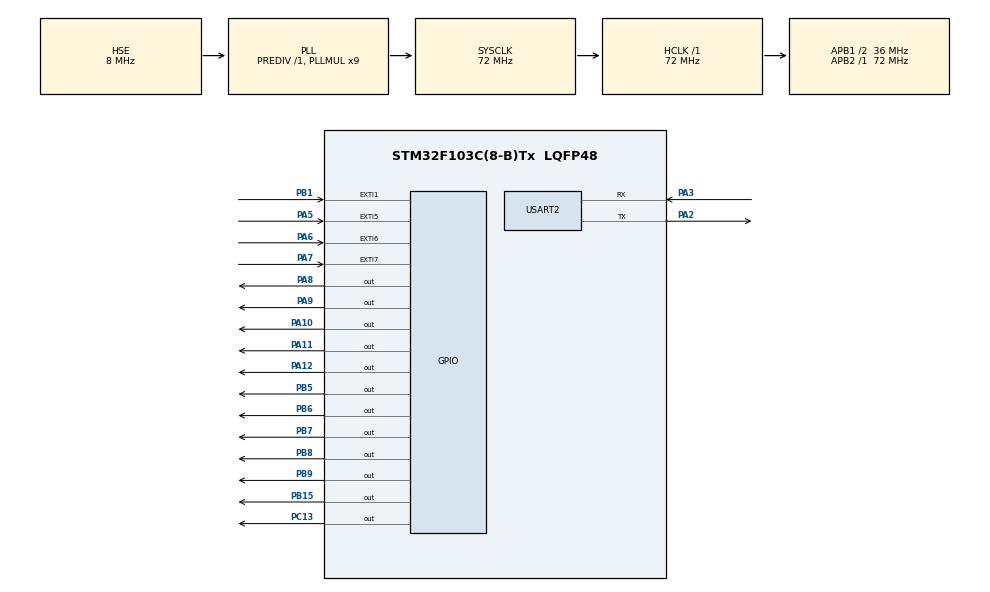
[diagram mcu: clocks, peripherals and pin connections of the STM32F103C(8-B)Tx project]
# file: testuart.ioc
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Mcu.Family=STM32F1
Mcu.Name=STM32F103C(8-B)Tx
Mcu.Package=LQFP48
NVIC.EXTI1_IRQn=true\:0\:0\:false\:false\:true\:true\:true\:true
NVIC.EXTI9_5_IRQn=true\:0\:0\:false\:false\:true\:true\:true\:true
NVIC.PriorityGroup=NVIC_PRIORITYGROUP_4
NVIC.TIM1_UP_IRQn=true\:0\:0\:false\:false\:true\:true\:true\:true
NVIC.TIM2_IRQn=true\:0\:0\:false\:false\:true\:true\:true\:true
NVIC.TIM3_IRQn=true\:0\:0\:false\:false\:true\:true\:true\:true
NVIC.TIM4_IRQn=true\:0\:0\:false\:false\:true\:true\:true\:true
NVIC.USART2_IRQn=true\:0\:0\:false\:false\:true\:true\:true\:true
PA10.Signal=GPIO_Output
PA11.Signal=GPIO_Output
PA12.Signal=GPIO_Output
PA2.Mode=Asynchronous
PA2.Signal=USART2_TX
PA3.Mode=Asynchronous
PA3.Signal=USART2_RX
PA5.GPIO_ModeDefaultEXTI=GPIO_MODE_IT_FALLING
PA5.GPIO_PuPd=GPIO_PULLUP
PA5.Signal=GPXTI5
PA6.GPIO_ModeDefaultEXTI=GPIO_MODE_IT_FALLING
PA6.GPIO_PuPd=GPIO_PULLUP
PA6.Signal=GPXTI6
PA7.GPIO_ModeDefaultEXTI=GPIO_MODE_IT_FALLING
PA7.GPIO_PuPd=GPIO_PULLUP
PA7.Signal=GPXTI7
PA8.Signal=GPIO_Output
PA9.Signal=GPIO_Output
PB1.GPIO_ModeDefaultEXTI=GPIO_MODE_IT_FALLING
PB1.GPIO_PuPd=GPIO_PULLUP
PB1.Signal=GPXTI1
PB15.Signal=GPIO_Output
PB5.Signal=GPIO_Output
PB6.Signal=GPIO_Output
PB7.Signal=GPIO_Output
PB8.Signal=GPIO_Output
PB9.Signal=GPIO_Output
PC13-TAMPER-RTC.Signal=GPIO_Output
PD0-OSC_IN.Mode=HSE-External-Oscillator
PD0-OSC_IN.Signal=RCC_OSC_IN
PD1-OSC_OUT.Mode=HSE-External-Oscillator
PD1-OSC_OUT.Signal=RCC_OSC_OUT
ProjectManager.HeapSize=0x200
ProjectManager.StackSize=0x400
ProjectManager.TargetToolchain=STM32CubeIDE
RCC.AHBFreq_Value=72000000
RCC.APB1CLKDivider=RCC_HCLK_DIV2
RCC.APB1Freq_Value=36000000
RCC.APB1TimFreq_Value=72000000
RCC.APB2Freq_Value=72000000
RCC.APB2TimFreq_Value=72000000
RCC.HCLKFreq_Value=72000000
RCC.PLLMUL=RCC_PLL_MUL9
RCC.PLLSourceVirtual=RCC_PLLSOURCE_HSE
RCC.SYSCLKFreq_VALUE=72000000
RCC.SYSCLKSource=RCC_SYSCLKSOURCE_PLLCLK
RCC.USBFreq_Value=72000000
TIM1.AutoReloadPreload=TIM_AUTORELOAD_PRELOAD_ENABLE
TIM1.Period=20000-1
TIM1.Prescaler=7200-1
TIM2.AutoReloadPreload=TIM_AUTORELOAD_PRELOAD_ENABLE
TIM2.Period=71
TIM2.Prescaler=720
TIM3.AutoReloadPreload=TIM_AUTORELOAD_PRELOAD_ENABLE
TIM3.Period=71
TIM3.Prescaler=720
TIM4.AutoReloadPreload=TIM_AUTORELOAD_PRELOAD_ENABLE
TIM4.Prescaler=720
USART2.VirtualMode=VM_ASYNC
VP_TIM1_VS_ClockSourceINT.Mode=Internal
VP_TIM2_VS_ClockSourceINT.Mode=Internal
VP_TIM3_VS_ClockSourceINT.Mode=Internal
VP_TIM4_VS_ClockSourceINT.Mode=Internal
board=custom

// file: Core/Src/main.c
/* USER CODE BEGIN Header */
/**
  ******************************************************************************
  * @file           : main.c
  * @brief          : Main program body
  ******************************************************************************
  * @attention
  *
  * Copyright (c) 2023 STMicroelectronics.
  * All rights reserved.
  *
  * This software is licensed under terms that can be found in the LICENSE file
  * in the root directory of this software component.
  * If no LICENSE file comes with this software, it is provided AS-IS.
  *
  ******************************************************************************
  */
/* USER CODE END Header */
#include "main.h"

/* USER CODE BEGIN PTD */
#include <begin.h>
#include <body.h>
#include <calculate_ARR.h>
#include <convert_position.h>
#include <define.h>
#include <director.h>
#include <exti_interrupt.h>
#include <timer_interrupt.h>
#include <uart_interrupt.h>
#include <var.h>
/* USER CODE END PTD */

TIM_HandleTypeDef htim1;
TIM_HandleTypeDef htim2;
TIM_HandleTypeDef htim3;
TIM_HandleTypeDef htim4;

UART_HandleTypeDef huart2;

void SystemClock_Config(void);
static void MX_GPIO_Init(void);
static void MX_TIM2_Init(void);
static void MX_TIM3_Init(void);
static void MX_TIM4_Init(void);
static void MX_USART2_UART_Init(void);
static void MX_TIM1_Init(void);

int main(void)
{

  /* MCU Configuration--------------------------------------------------------*/

  /* Reset of all peripherals, Initializes the Flash interface and the Systick. */
  HAL_Init();

  /* Configure the system clock */
  SystemClock_Config();

  /* Initialize all configured peripherals */
  MX_GPIO_Init();
  MX_TIM2_Init();
  MX_TIM3_Init();
  MX_TIM4_Init();
  MX_USART2_UART_Init();
  MX_TIM1_Init();

  /* Infinite loop */
  /* USER CODE BEGIN WHILE */
  khoi_tao();

  while (1)
  {
    /* USER CODE END WHILE */

    /* USER CODE BEGIN 3 */
	  /* Reset */
	  	 reset_step();
	     reset_thong_so();
	/* Nhận tín hiệu từ UART */
	     wait_uart();
		  /* Gán giá trị cho các biến */
		 gan_du_lieu_uart();
		 /* reset thông số giá trị đếm của các motor */
		 reset_gia_tri_dem();
		  /* Xác định hướng quay */
		 director();
		  /* Gửi tín hiệu cho Encoder */
		 send_encoder_begin();
		  /* Bắt đầu quay động cơ*/
		 begin_motor();
		  /* Đợi động cơ quay xong*/
		 wait_motor_finish();
		  /* Sau khi quay xong */
		 motor_finish();
		 send_encoder_finish();
  }
  /* USER CODE END 3 */
}

void SystemClock_Config(void)
{
  RCC_OscInitTypeDef RCC_OscInitStruct = {0};
  RCC_ClkInitTypeDef RCC_ClkInitStruct = {0};

  /** Initializes the RCC Oscillators according to the specified parameters
  * in the RCC_OscInitTypeDef structure.
  */
  RCC_OscInitStruct.OscillatorType = RCC_OSCILLATORTYPE_HSE;
  RCC_OscInitStruct.HSEState = RCC_HSE_ON;
  RCC_OscInitStruct.HSEPredivValue = RCC_HSE_PREDIV_DIV1;
  RCC_OscInitStruct.HSIState = RCC_HSI_ON;
  RCC_OscInitStruct.PLL.PLLState = RCC_PLL_ON;
  RCC_OscInitStruct.PLL.PLLSource = RCC_PLLSOURCE_HSE;
  RCC_OscInitStruct.PLL.PLLMUL = RCC_PLL_MUL9;
  if (HAL_RCC_OscConfig(&RCC_OscInitStruct) != HAL_OK)
  {
    Error_Handler();
  }

  /** Initializes the CPU, AHB and APB buses clocks
  */
  RCC_ClkInitStruct.ClockType = RCC_CLOCKTYPE_HCLK|RCC_CLOCKTYPE_SYSCLK
                              |RCC_CLOCKTYPE_PCLK1|RCC_CLOCKTYPE_PCLK2;
  RCC_ClkInitStruct.SYSCLKSource = RCC_SYSCLKSOURCE_PLLCLK;
  RCC_ClkInitStruct.AHBCLKDivider = RCC_SYSCLK_DIV1;
  RCC_ClkInitStruct.APB1CLKDivider = RCC_HCLK_DIV2;
  RCC_ClkInitStruct.APB2CLKDivider = RCC_HCLK_DIV1;

  if (HAL_RCC_ClockConfig(&RCC_ClkInitStruct, FLASH_LATENCY_2) != HAL_OK)
  {
    Error_Handler();
  }
}

static void MX_TIM1_Init(void)
{

  TIM_ClockConfigTypeDef sClockSourceConfig = {0};
  TIM_MasterConfigTypeDef sMasterConfig = {0};

  htim1.Instance = TIM1;
  htim1.Init.Prescaler = 7200-1;
  htim1.Init.CounterMode = TIM_COUNTERMODE_UP;
  htim1.Init.Period = 20000-1;
  htim1.Init.ClockDivision = TIM_CLOCKDIVISION_DIV1;
  htim1.Init.RepetitionCounter = 0;
  htim1.Init.AutoReloadPreload = TIM_AUTORELOAD_PRELOAD_ENABLE;
  if (HAL_TIM_Base_Init(&htim1) != HAL_OK)
  {
    Error_Handler();
  }
  sClockSourceConfig.ClockSource = TIM_CLOCKSOURCE_INTERNAL;
  if (HAL_TIM_ConfigClockSource(&htim1, &sClockSourceConfig) != HAL_OK)
  {
    Error_Handler();
  }
  sMasterConfig.MasterOutputTrigger = TIM_TRGO_RESET;
  sMasterConfig.MasterSlaveMode = TIM_MASTERSLAVEMODE_DISABLE;
  if (HAL_TIMEx_MasterConfigSynchronization(&htim1, &sMasterConfig) != HAL_OK)
  {
    Error_Handler();
  }

}

static void MX_TIM2_Init(void)
{

  TIM_ClockConfigTypeDef sClockSourceConfig = {0};
  TIM_MasterConfigTypeDef sMasterConfig = {0};

  htim2.Instance = TIM2;
  htim2.Init.Prescaler = 720;
  htim2.Init.CounterMode = TIM_COUNTERMODE_UP;
  htim2.Init.Period = 71;
  htim2.Init.ClockDivision = TIM_CLOCKDIVISION_DIV1;
  htim2.Init.AutoReloadPreload = TIM_AUTORELOAD_PRELOAD_ENABLE;
  if (HAL_TIM_Base_Init(&htim2) != HAL_OK)
  {
    Error_Handler();
  }
  sClockSourceConfig.ClockSource = TIM_CLOCKSOURCE_INTERNAL;
  if (HAL_TIM_ConfigClockSource(&htim2, &sClockSourceConfig) != HAL_OK)
  {
    Error_Handler();
  }
  sMasterConfig.MasterOutputTrigger = TIM_TRGO_RESET;
  sMasterConfig.MasterSlaveMode = TIM_MASTERSLAVEMODE_DISABLE;
  if (HAL_TIMEx_MasterConfigSynchronization(&htim2, &sMasterConfig) != HAL_OK)
  {
    Error_Handler();
  }

}

static void MX_TIM3_Init(void)
{

  TIM_ClockConfigTypeDef sClockSourceConfig = {0};
  TIM_MasterConfigTypeDef sMasterConfig = {0};

  htim3.Instance = TIM3;
  htim3.Init.Prescaler = 720;
  htim3.Init.CounterMode = TIM_COUNTERMODE_UP;
  htim3.Init.Period = 71;
  htim3.Init.ClockDivision = TIM_CLOCKDIVISION_DIV1;
  htim3.Init.AutoReloadPreload = TIM_AUTORELOAD_PRELOAD_ENABLE;
  if (HAL_TIM_Base_Init(&htim3) != HAL_OK)
  {
    Error_Handler();
  }
  sClockSourceConfig.ClockSource = TIM_CLOCKSOURCE_INTERNAL;
  if (HAL_TIM_ConfigClockSource(&htim3, &sClockSourceConfig) != HAL_OK)
  {
    Error_Handler();
  }
  sMasterConfig.MasterOutputTrigger = TIM_TRGO_RESET;
  sMasterConfig.MasterSlaveMode = TIM_MASTERSLAVEMODE_DISABLE;
  if (HAL_TIMEx_MasterConfigSynchronization(&htim3, &sMasterConfig) != HAL_OK)
  {
    Error_Handler();
  }

}

static void MX_TIM4_Init(void)
{

  TIM_ClockConfigTypeDef sClockSourceConfig = {0};
  TIM_MasterConfigTypeDef sMasterConfig = {0};

  htim4.Instance = TIM4;
  htim4.Init.Prescaler = 720;
  htim4.Init.CounterMode = TIM_COUNTERMODE_UP;
  htim4.Init.Period = 65535;
  htim4.Init.ClockDivision = TIM_CLOCKDIVISION_DIV1;
  htim4.Init.AutoReloadPreload = TIM_AUTORELOAD_PRELOAD_ENABLE;
  if (HAL_TIM_Base_Init(&htim4) != HAL_OK)
  {
    Error_Handler();
  }
  sClockSourceConfig.ClockSource = TIM_CLOCKSOURCE_INTERNAL;
  if (HAL_TIM_ConfigClockSource(&htim4, &sClockSourceConfig) != HAL_OK)
  {
    Error_Handler();
  }
  sMasterConfig.MasterOutputTrigger = TIM_TRGO_RESET;
  sMasterConfig.MasterSlaveMode = TIM_MASTERSLAVEMODE_DISABLE;
  if (HAL_TIMEx_MasterConfigSynchronization(&htim4, &sMasterConfig) != HAL_OK)
  {
    Error_Handler();
  }

}

static void MX_USART2_UART_Init(void)
{

  huart2.Instance = USART2;
  huart2.Init.BaudRate = 115200;
  huart2.Init.WordLength = UART_WORDLENGTH_8B;
  huart2.Init.StopBits = UART_STOPBITS_1;
  huart2.Init.Parity = UART_PARITY_NONE;
  huart2.Init.Mode = UART_MODE_TX_RX;
  huart2.Init.HwFlowCtl = UART_HWCONTROL_NONE;
  huart2.Init.OverSampling = UART_OVERSAMPLING_16;
  if (HAL_UART_Init(&huart2) != HAL_OK)
  {
    Error_Handler();
  }

}

static void MX_GPIO_Init(void)
{
  GPIO_InitTypeDef GPIO_InitStruct = {0};

  /* GPIO Ports Clock Enable */
  __HAL_RCC_GPIOC_CLK_ENABLE();
  __HAL_RCC_GPIOD_CLK_ENABLE();
  __HAL_RCC_GPIOA_CLK_ENABLE();
  __HAL_RCC_GPIOB_CLK_ENABLE();

  /*Configure GPIO pin Output Level */
  HAL_GPIO_WritePin(GPIOC, GPIO_PIN_13, GPIO_PIN_RESET);

  /*Configure GPIO pin Output Level */
  HAL_GPIO_WritePin(GPIOB, GPIO_PIN_15|GPIO_PIN_5|GPIO_PIN_6|GPIO_PIN_7
                          |GPIO_PIN_8|GPIO_PIN_9, GPIO_PIN_RESET);

  /*Configure GPIO pin Output Level */
  HAL_GPIO_WritePin(GPIOA, GPIO_PIN_8|GPIO_PIN_9|GPIO_PIN_10|GPIO_PIN_11
                          |GPIO_PIN_12, GPIO_PIN_RESET);

  /*Configure GPIO pin : PC13 */
  GPIO_InitStruct.Pin = GPIO_PIN_13;
  GPIO_InitStruct.Mode = GPIO_MODE_OUTPUT_PP;
  GPIO_InitStruct.Pull = GPIO_NOPULL;
  GPIO_InitStruct.Speed = GPIO_SPEED_FREQ_LOW;
  HAL_GPIO_Init(GPIOC, &GPIO_InitStruct);

  /*Configure GPIO pins : PA5 PA6 PA7 */
  GPIO_InitStruct.Pin = GPIO_PIN_5|GPIO_PIN_6|GPIO_PIN_7;
  GPIO_InitStruct.Mode = GPIO_MODE_IT_FALLING;
  GPIO_InitStruct.Pull = GPIO_PULLUP;
  HAL_GPIO_Init(GPIOA, &GPIO_InitStruct);

  /*Configure GPIO pin : PB1 */
  GPIO_InitStruct.Pin = GPIO_PIN_1;
  GPIO_InitStruct.Mode = GPIO_MODE_IT_FALLING;
  GPIO_InitStruct.Pull = GPIO_PULLUP;
  HAL_GPIO_Init(GPIOB, &GPIO_InitStruct);

  /*Configure GPIO pins : PB15 PB5 PB6 PB7
                           PB8 PB9 */
  GPIO_InitStruct.Pin = GPIO_PIN_15|GPIO_PIN_5|GPIO_PIN_6|GPIO_PIN_7
                          |GPIO_PIN_8|GPIO_PIN_9;
  GPIO_InitStruct.Mode = GPIO_MODE_OUTPUT_PP;
  GPIO_InitStruct.Pull = GPIO_NOPULL;
  GPIO_InitStruct.Speed = GPIO_SPEED_FREQ_LOW;
  HAL_GPIO_Init(GPIOB, &GPIO_InitStruct);

  /*Configure GPIO pins : PA8 PA9 PA10 PA11
                           PA12 */
  GPIO_InitStruct.Pin = GPIO_PIN_8|GPIO_PIN_9|GPIO_PIN_10|GPIO_PIN_11
                          |GPIO_PIN_12;
  GPIO_InitStruct.Mode = GPIO_MODE_OUTPUT_PP;
  GPIO_InitStruct.Pull = GPIO_NOPULL;
  GPIO_InitStruct.Speed = GPIO_SPEED_FREQ_LOW;
  HAL_GPIO_Init(GPIOA, &GPIO_InitStruct);

  /* EXTI interrupt init*/
  HAL_NVIC_SetPriority(EXTI1_IRQn, 0, 0);
  HAL_NVIC_EnableIRQ(EXTI1_IRQn);

  HAL_NVIC_SetPriority(EXTI9_5_IRQn, 0, 0);
  HAL_NVIC_EnableIRQ(EXTI9_5_IRQn);

}

void Error_Handler(void)
{
  __disable_irq();
  while (1)
  {
  }
}
